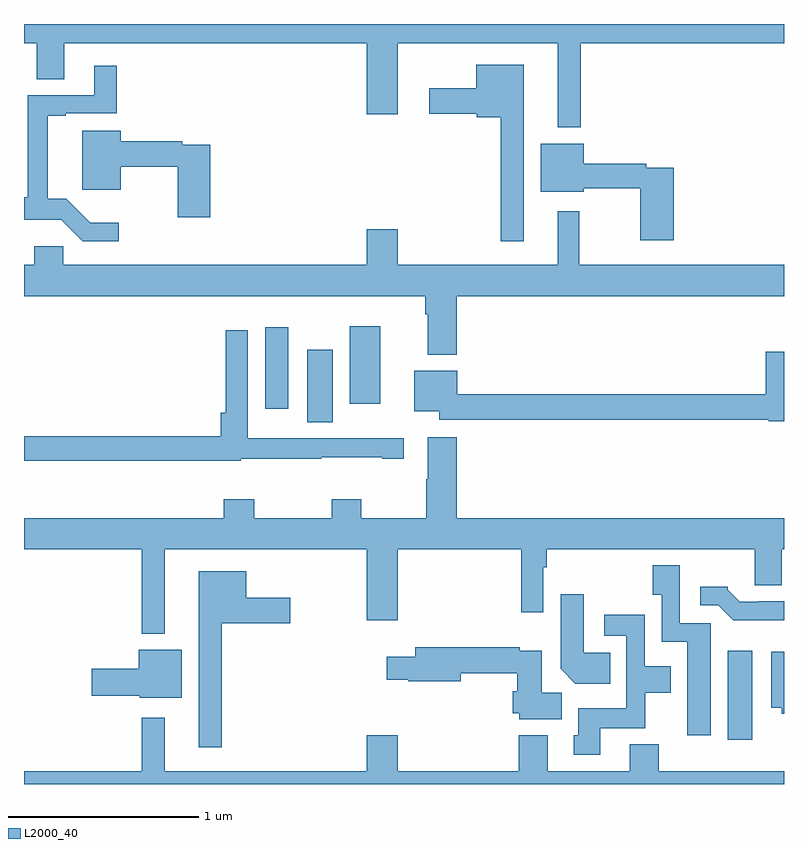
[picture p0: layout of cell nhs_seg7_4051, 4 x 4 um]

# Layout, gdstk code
import gdstk
lib = gdstk.Library(unit=1e-6, precision=1e-09)
def R(c, l, rs):  # rectangles x0, y0, x1, y1
    for r in rs: c.add(gdstk.rectangle(r[:2], r[2:], *l))
def P(c, l, *ps):  # polygons
    for p in ps: c.add(gdstk.Polygon(p, *l))
L2000_40 = (2000, 40)

nhs_seg7_4051 = lib.new_cell('nhs_seg7_4051')
R(nhs_seg7_4051, L2000_40, [(370.703,1046.232,370.834,1046.701), (368.492,1047.904,368.626,1048.285), (368.27,1047.975,368.392,1048.405), (368.714,1048.002,368.875,1048.408)])
P(nhs_seg7_4051, L2000_40, [(369.931,1049.9),(371,1049.9),(371,1050),(367,1050),(367,1049.9),(367.066,1049.9),(367.066,1049.71),(367.213,1049.71),(367.213,1049.9),(368.804,1049.9),(368.804,1049.526),(368.968,1049.526),(368.968,1049.9),(369.809,1049.9),(369.809,1049.456),(369.931,1049.456)],
  [(369.631,1049.785),(369.38,1049.785),(369.38,1049.662),(369.132,1049.662),(369.132,1049.528),(369.384,1049.528),(369.384,1049.51),(369.51,1049.51),(369.51,1048.857),(369.631,1048.857)],
  [(367.498,1048.954),(367.349,1048.954),(367.223,1049.08),(367.124,1049.08),(367.124,1049.517),(367.219,1049.517),(367.219,1049.529),(367.487,1049.529),(367.487,1049.779),(367.37,1049.779),(367.37,1049.625),(367.021,1049.625),(367.021,1049.087),(367,1049.087),(367,1048.97),(367.195,1048.97),(367.308,1048.857),(367.498,1048.857)],
  [(367.979,1049.364),(367.832,1049.364),(367.832,1049.384),(367.51,1049.384),(367.51,1049.437),(367.307,1049.437),(367.307,1049.127),(367.51,1049.127),(367.51,1049.248),(367.808,1049.248),(367.808,1048.983),(367.979,1048.983)],
  [(370.421,1049.244),(370.274,1049.244),(370.274,1049.264),(369.946,1049.264),(369.946,1049.371),(369.719,1049.371),(369.719,1049.117),(369.946,1049.117),(369.946,1049.136),(370.243,1049.136),(370.243,1048.863),(370.421,1048.863)],
  [(369.278,1048.568),(371,1048.568),(371,1048.732),(369.923,1048.732),(369.923,1049.014),(369.809,1049.014),(369.809,1048.732),(368.968,1048.732),(368.968,1048.921),(368.804,1048.921),(368.804,1048.732),(367.207,1048.732),(367.207,1048.83),(367.055,1048.83),(367.055,1048.732),(367,1048.732),(367,1048.568),(369.113,1048.568),(369.113,1048.472),(369.125,1048.472),(369.125,1048.259),(369.278,1048.259)],
  [(368.142,1047.711),(368.564,1047.711),(368.564,1047.721),(368.885,1047.721),(368.885,1047.711),(368.998,1047.711),(368.998,1047.821),(368.722,1047.821),(368.722,1047.819),(368.388,1047.819),(368.388,1047.82),(368.178,1047.82),(368.178,1048.387),(368.062,1048.387),(368.062,1047.955),(368.036,1047.955),(368.036,1047.83),(367,1047.83),(367,1047.702),(368.142,1047.702)],
  [(371,1048.276),(370.904,1048.276),(370.904,1048.052),(369.28,1048.052),(369.28,1048.174),(369.053,1048.174),(369.053,1047.962),(369.186,1047.962),(369.186,1047.916),(370.92,1047.916),(370.92,1047.908),(371,1047.908)],
  [(367.741,1047.236),(368.804,1047.236),(368.804,1046.862),(368.968,1046.862),(368.968,1047.236),(369.616,1047.236),(369.616,1046.904),(369.732,1046.904),(369.732,1047.14),(369.752,1047.14),(369.752,1047.236),(370.847,1047.236),(370.847,1047.046),(370.987,1047.046),(370.987,1047.236),(371,1047.236),(371,1047.4),(369.278,1047.4),(369.278,1047.826),(369.125,1047.826),(369.125,1047.605),(369.118,1047.605),(369.118,1047.4),(368.775,1047.4),(368.775,1047.499),(368.62,1047.499),(368.62,1047.4),(368.211,1047.4),(368.211,1047.499),(368.051,1047.499),(368.051,1047.4),(367,1047.4),(367,1047.236),(367.62,1047.236),(367.62,1046.792),(367.741,1046.792)],
  [(370.615,1046.847),(370.452,1046.847),(370.452,1047.151),(370.309,1047.151),(370.309,1046.995),(370.356,1046.995),(370.356,1046.75),(370.49,1046.75),(370.49,1046.256),(370.615,1046.256)],
  [(368.041,1046.846),(368.401,1046.846),(368.401,1046.98),(368.17,1046.98),(368.17,1047.121),(367.919,1047.121),(367.919,1046.193),(368.041,1046.193)],
  [(371,1046.961),(370.867,1046.961),(370.867,1046.958),(370.768,1046.958),(370.704,1047.022),(370.704,1047.037),(370.56,1047.037),(370.56,1046.94),(370.653,1046.94),(370.732,1046.862),(371,1046.862)],
  [(370.085,1046.692),(369.946,1046.692),(369.946,1046.998),(369.824,1046.998),(369.824,1046.606),(369.902,1046.528),(370.085,1046.528)],
  [(370.033,1046.294),(370.269,1046.294),(370.269,1046.48),(370.405,1046.48),(370.405,1046.62),(370.266,1046.62),(370.266,1046.89),(370.053,1046.89),(370.053,1046.781),(370.17,1046.781),(370.17,1046.398),(369.917,1046.398),(369.917,1046.256),(369.893,1046.256),(369.893,1046.154),(370.033,1046.154)],
  [(369.829,1046.48),(369.724,1046.48),(369.724,1046.702),(369.608,1046.702),(369.608,1046.72),(369.059,1046.72),(369.059,1046.671),(368.91,1046.671),(368.91,1046.549),(369.022,1046.549),(369.022,1046.542),(369.298,1046.542),(369.298,1046.584),(369.595,1046.584),(369.595,1046.487),(369.572,1046.487),(369.572,1046.373),(369.606,1046.373),(369.606,1046.342),(369.829,1046.342)],
  [(367.831,1046.707),(367.604,1046.707),(367.604,1046.606),(367.356,1046.606),(367.356,1046.464),(367.608,1046.464),(367.608,1046.453),(367.831,1046.453)],
  [(371,1046.695),(370.934,1046.695),(370.934,1046.402),(370.989,1046.402),(370.989,1046.37),(371,1046.37)],
  [(371,1046.068),(370.34,1046.068),(370.34,1046.209),(370.187,1046.209),(370.187,1046.068),(369.757,1046.068),(369.757,1046.257),(369.605,1046.257),(369.605,1046.068),(368.968,1046.068),(368.968,1046.257),(368.804,1046.257),(368.804,1046.068),(367.741,1046.068),(367.741,1046.35),(367.62,1046.35),(367.62,1046.068),(367,1046.068),(367,1046),(371,1046)])

lib.write_gds('nhs_seg7_4051.gds')
